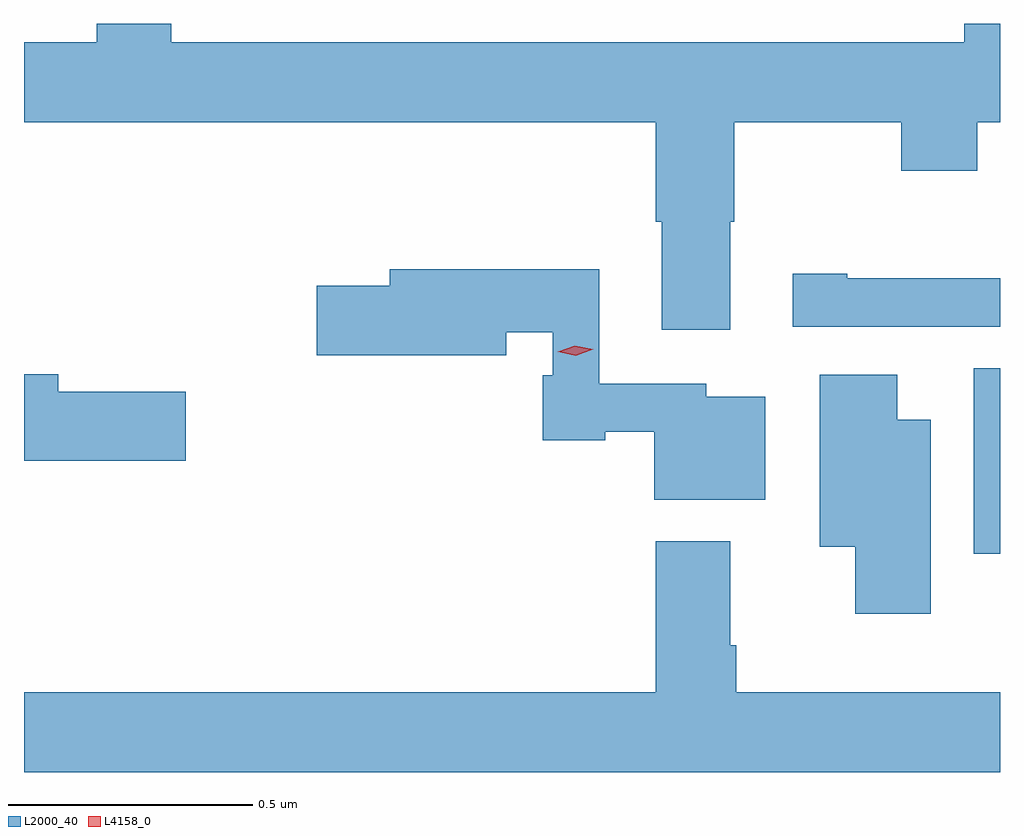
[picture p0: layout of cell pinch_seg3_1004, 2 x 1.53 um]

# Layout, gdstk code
import gdstk
lib = gdstk.Library(unit=1e-6, precision=1e-09)
def R(c, l, rs):  # rectangles x0, y0, x1, y1
    for r in rs: c.add(gdstk.rectangle(r[:2], r[2:], *l))
def P(c, l, *ps):  # polygons
    for p in ps: c.add(gdstk.Polygon(p, *l))
L2000_40 = (2000, 40)
L4158_0 = (4158, 0)

pinch_seg3_1004 = lib.new_cell('pinch_seg3_1004')
R(pinch_seg3_1004, L2000_40, [(419.096,713.352,419.15,713.732)])
P(pinch_seg3_1004, L2000_40, [(418.597,714.032),(418.605,714.032),(418.605,714.236),(418.948,714.236),(418.948,714.137),(419.103,714.137),(419.103,714.236),(419.15,714.236),(419.15,714.438),(419.077,714.438),(419.077,714.4),(417.452,714.4),(417.452,714.438),(417.299,714.438),(417.299,714.4),(417.15,714.4),(417.15,714.236),(418.445,714.236),(418.445,714.032),(418.457,714.032),(418.457,713.811),(418.597,713.811)],
  [(418.669,713.674),(418.548,713.674),(418.548,713.7),(418.329,713.7),(418.329,713.935),(417.899,713.935),(417.899,713.901),(417.75,713.901),(417.75,713.759),(418.138,713.759),(418.138,713.806),(418.233,713.806),(418.233,713.718),(418.213,713.718),(418.213,713.584),(418.341,713.584),(418.341,713.602),(418.442,713.602),(418.442,713.462),(418.669,713.462)],
  [(419.15,713.916),(418.837,713.916),(418.837,713.926),(418.725,713.926),(418.725,713.817),(419.15,713.817)],
  [(417.481,713.684),(417.22,713.684),(417.22,713.72),(417.15,713.72),(417.15,713.542),(417.481,713.542)],
  [(419.008,713.626),(418.939,713.626),(418.939,713.719),(418.781,713.719),(418.781,713.366),(418.853,713.366),(418.853,713.229),(419.008,713.229)],
  [(419.15,713.068),(418.61,713.068),(418.61,713.164),(418.597,713.164),(418.597,713.377),(418.445,713.377),(418.445,713.068),(417.15,713.068),(417.15,712.904),(419.15,712.904)])
P(pinch_seg3_1004, L4158_0, [(418.281,713.758),(418.244,713.766),(418.244,713.766),(418.244,713.766),(418.279,713.778),(418.316,713.771),(418.316,713.771),(418.316,713.771)])

lib.write_gds('pinch_seg3_1004.gds')
